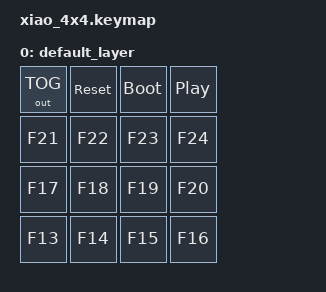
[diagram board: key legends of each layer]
/*
 * Copyright (c) 2022 The ZMK Contributors
 *
 * SPDX-License-Identifier: MIT
 */

#include <behaviors.dtsi>
#include <dt-bindings/zmk/keys.h>
#include <dt-bindings/zmk/bt.h>
<dt-bindings/zmk/outputs.h>

/ {
    keymap {
        compatible = "zmk,keymap";

        default_layer {
            bindings = <
//=========================================================
//|     F21     |     F22     |     F23     |     F24     |
   &out OUT_TOG  &sys_reset    &bootloader   &kp C_PP
//=========================================================
//|     F21     |     F22     |     F23     |     F24     |
   &kp F21       &kp F22       &kp F23       &kp F24
//=========================================================
//|     F17     |     F18     |     F19     |     F20     |
   &kp F17       &kp F18       &kp F19       &kp F20
//=========================================================
//|     F13     |     F14     |     F15     |     F16     |
   &kp F13       &kp F14       &kp F15       &kp F16
//=========================================================
            >;
        };
    };
};
